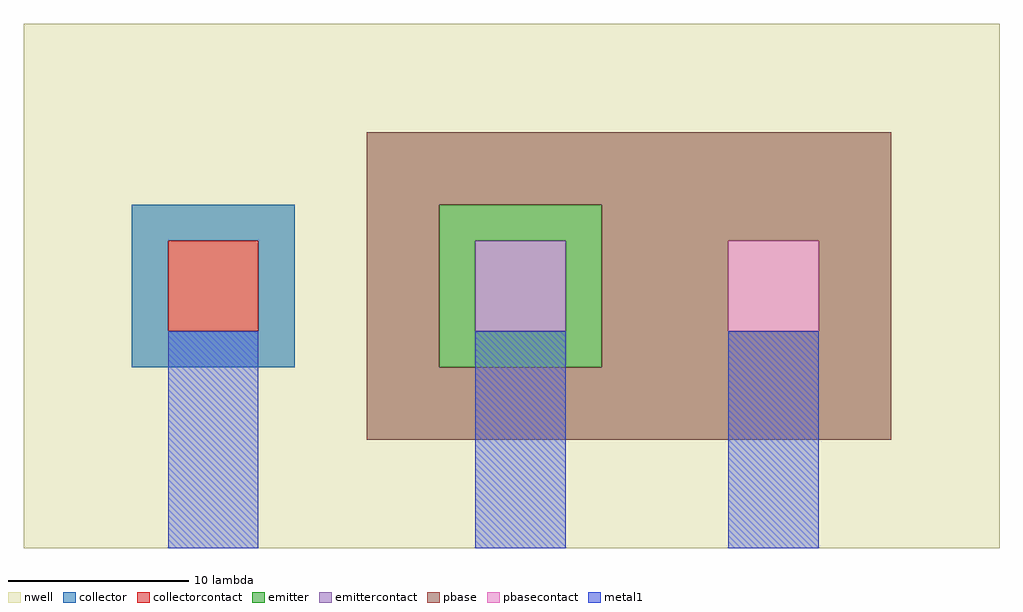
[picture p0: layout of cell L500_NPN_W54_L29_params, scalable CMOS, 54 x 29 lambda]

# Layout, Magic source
magic
tech scmos
<< nwell >>
rect 6 5 60 34
<< metal1 >>
rect 14 5 19 17
rect 31 5 36 17
rect 45 5 50 17
<< collector >>
rect 12 22 21 24
rect 12 17 14 22
rect 19 17 21 22
rect 12 15 21 17
<< emitter >>
rect 29 22 38 24
rect 29 17 31 22
rect 36 17 38 22
rect 29 15 38 17
<< pbase >>
rect 25 24 54 28
rect 25 15 29 24
rect 38 22 54 24
rect 38 17 45 22
rect 50 17 54 22
rect 38 15 54 17
rect 25 11 54 15
<< collectorcontact >>
rect 14 17 19 22
<< emittercontact >>
rect 31 17 36 22
<< pbasecontact >>
rect 45 17 50 22
<< end >>
